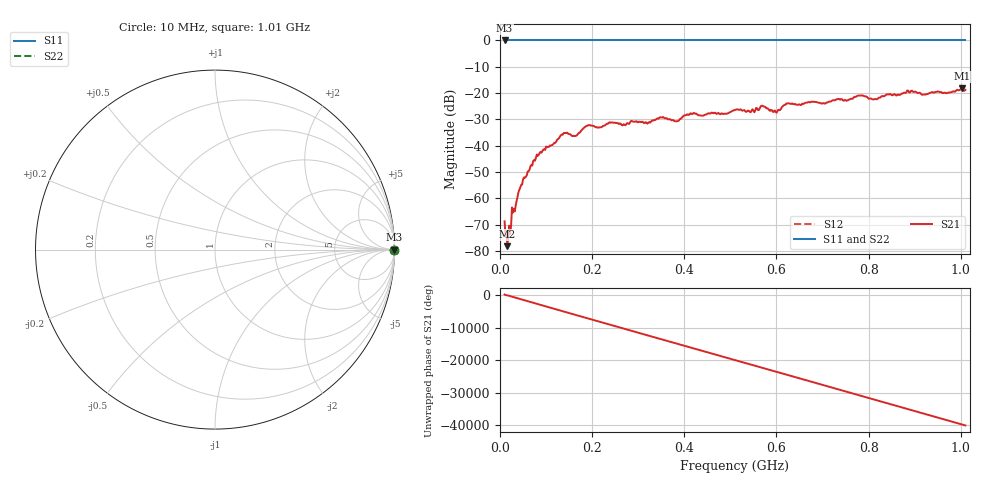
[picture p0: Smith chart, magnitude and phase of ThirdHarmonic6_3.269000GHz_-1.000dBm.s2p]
! 8/17/2025 10:06:38 AM
! C:\ANRITSUVNA\TEMP\TEMP.S2P
! CHANNEL.1
! TR.MEASUREMENT
! RAW.DATA
! RF.CORRECTION.OFF
! AVERAGING.OFF
! IF.BANDWIDTH: 5KHZ
! SWEEPTYPE:  FREQ.SWEEP(Linear)
! Reference Plane Port Info
! PORT:  PORT1  PORT2
! DISTANCE:  0  m  0  m
! TIME:  0  s  0  s
! PHASE.OFFSET:  0  deg.  0  deg.
! LOSS:  0  dB  0  dB
! REF.LOSS:  0  dB  0  dB
! REF.FREQ:  0  Hz  0  Hz
! Power Info
! POWER:  -20  dBm  -20  dBm
! EFF.POWER:  -20  dBm  -20  dBm
! SOURCE.ATTEN:  0  dB  0  dB
! TEST.ATTEN:  0  dB  0  dB
# GHZ S RI R 50.0
! FREQ.GHZ  S11RE  S11IM  S21RE  S21IM  S12RE  S12IM  S22RE  S22IM
!; PortSelection: Port_12
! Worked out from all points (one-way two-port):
!   501 points, 10 MHz to 1.01 GHz, reference 50 ohm
!   highest |S21| = -18.18 dB at 1.002 GHz (marker M1); lowest = -78.1 dB at 16 MHz (marker M2)
!   lowest |S11| = 0.0 dB at 10 MHz (marker M3)
!   |S11| at or under -10 dB: nowhere
!   |S22| runs from 0.0 to 0.0 dB; largest |S21 - S12| = 1.1
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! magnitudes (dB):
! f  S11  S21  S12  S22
! 10 MHz  0.0  -68.7  0.0  0.0
! 16 MHz  0.0  -78.1  0.0  0.0
! 20 MHz  0.0  -70.3  0.0  0.0
! 30 MHz  0.0  -63.9  0.0  0.0
! 42 MHz  0.0  -56.7  0.0  0.0
! 76 MHz  0.0  -45.6  0.0  0.0
! 136 MHz  0.0  -35.8  0.0  0.0
! 162 MHz  0.0  -36.3  0.0  0.0
! 178 MHz  0.0  -33.9  0.0  0.0
! 344 MHz  0.0  -29.7  0.0  0.0
! 384 MHz  0.0  -30.7  0.0  0.0
! 416 MHz  0.0  -27.9  0.0  0.0
! 510 MHz  0.0  -26.4  0.0  0.0
! 570 MHz  0.0  -24.8  0.0  0.0
! 598 MHz  0.0  -26.9  0.0  0.0
! 624 MHz  0.0  -23.9  0.0  0.0
! 678 MHz  0.0  -23.2  0.0  0.0
! 780 MHz  0.0  -20.9  0.0  0.0
! 814 MHz  0.0  -22.2  0.0  0.0
! 844 MHz  0.0  -20.5  0.0  0.0
! 1.002 GHz  0.0  -18.2  0.0  0.0
! 1.01 GHz  0.0  -18.8  0.0  0.0
